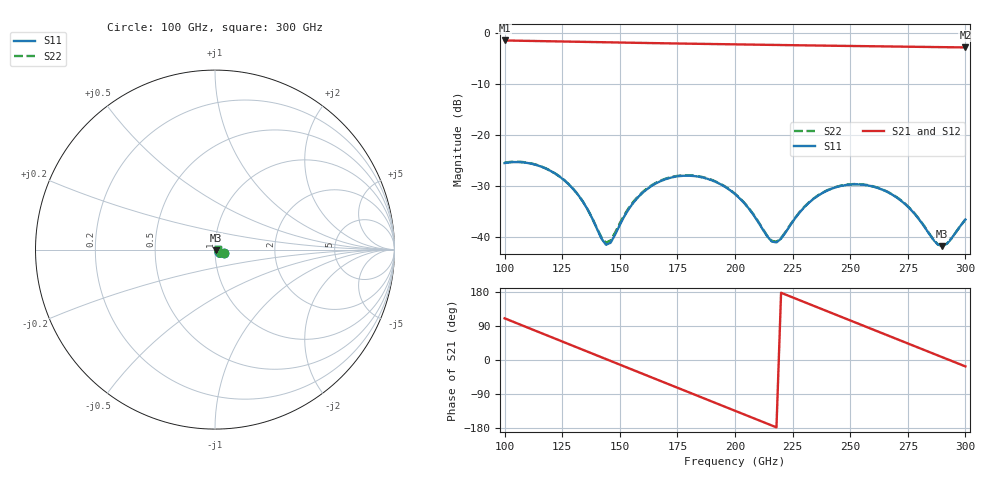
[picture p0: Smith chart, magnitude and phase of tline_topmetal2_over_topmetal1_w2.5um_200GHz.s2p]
#  GHZ S DB R 50
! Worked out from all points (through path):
!   101 points, 100 GHz to 300 GHz, reference 50 ohm
!   highest |S21| = -1.56 dB at 100 GHz (marker M1); lowest = -2.9 dB at 300 GHz (marker M2)
!   group delay of S21, straight-line fit = 6.76 ps
!   lowest |S11| = -41.8 dB at 290 GHz (marker M3), VSWR 1.02, Z = 50.7 - j0.369 ohm
!   |S11| at or under -10 dB: start of sweep to end of sweep
!   |S22| runs from -41.8 to -25.3 dB; largest |S21 - S12| = 8.7e-14
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100  -25.54 -19.0  -1.56 110.0  -1.56 110.0  -25.46 -19.5
108  -25.41 -35.6  -1.62 90.4  -1.62 90.4  -25.35 -36.0
116  -26.26 -51.9  -1.69 70.9  -1.69 70.9  -26.22 -52.1
126  -28.94 -70.3  -1.76 46.4  -1.76 46.4  -28.92 -70.2
134  -33.10 -79.4  -1.83 26.9  -1.83 26.9  -33.08 -78.8
144  -41.52 -40.8  -1.91 2.4  -1.91 2.4  -41.13 -39.4
146  -41.13 -19.6  -1.93 -2.5  -1.93 -2.5  -40.67 -19.4
156  -33.23 7.6  -2.01 -26.8  -2.01 -26.8  -33.04 6.6
168  -29.02 -9.0  -2.10 -56.1  -2.10 -56.1  -28.91 -9.8
176  -28.08 -23.8  -2.16 -75.5  -2.16 -75.5  -27.99 -24.5
184  -28.19 -38.9  -2.21 -95.0  -2.21 -95.0  -28.11 -39.5
200  -31.61 -65.4  -2.32 -134.0  -2.32 -134.0  -31.53 -65.9
210  -37.02 -67.5  -2.38 -158.3  -2.38 -158.3  -36.93 -68.0
214  -39.89 -54.4  -2.41 -168.0  -2.41 -168.0  -39.77 -54.9
218  -41.07 -26.8  -2.44 -177.8  -2.44 -177.8  -40.93 -27.6
234  -32.58 1.3  -2.54 143.3  -2.54 143.3  -32.51 0.5
244  -30.24 -13.5  -2.60 119.0  -2.60 119.0  -30.19 -14.3
252  -29.70 -27.6  -2.64 99.6  -2.64 99.6  -29.64 -28.4
268  -31.65 -54.8  -2.74 60.7  -2.74 60.7  -31.58 -55.6
280  -36.62 -64.3  -2.81 31.6  -2.81 31.6  -36.54 -65.3
290  -41.80 -26.6  -2.86 7.3  -2.86 7.3  -41.77 -28.0
300  -36.59 7.5  -2.92 -17.0  -2.92 -17.0  -36.57 6.4
